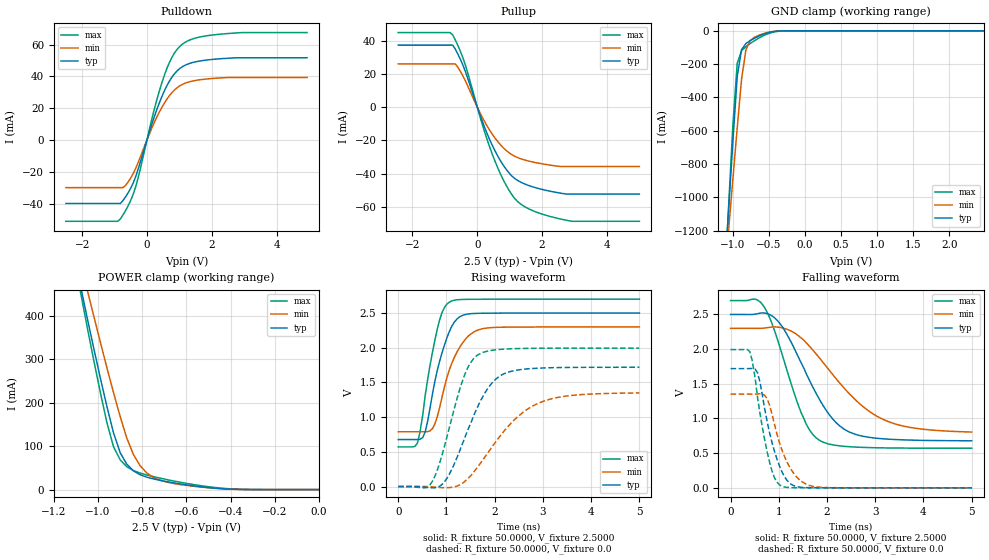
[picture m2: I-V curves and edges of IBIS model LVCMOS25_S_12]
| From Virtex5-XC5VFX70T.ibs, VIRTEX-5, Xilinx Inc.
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|   Model LVCMOS25_S_12
[Model]  LVCMOS25_S_12
Model_type I/O
Polarity   Non-Inverting
Enable   Active-Low
Vinl = 0.65
Vinh = 1.85
Vmeas =  1.2500V
Cref =   0.0F
Rref =   1.0000M
Vref =   0.0V
C_comp   6.0000pF   6.0000pF   6.0000pF
[Model Spec]
Vinl   0.65   0.6   0.7
Vinh   1.85   1.7   2.0
[Temperature Range]   25.0000   85.0000   0.0
[Voltage Range]   2.5000V   2.3000V   2.7000V
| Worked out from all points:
|   slope of the pulldown table from 0 to 0.375 V, typ, clamps not added: 16.3 ohm
|   slope of the pullup table from 0 to 0.375 V, typ, clamps not added: 19.5 ohm
|   GND clamp passes 1 mA (typ) near -0.35 V on its own axis
|   POWER clamp passes 1 mA (typ) near -0.40 V on its own axis
|   rising waveform, R_fixture 50.0000, V_fixture 2.5000: 20-80 % time 370ps typ, 426ps min, 312ps max; typ from 0.677 V to 2.5 V
|   rising waveform, R_fixture 50.0000, V_fixture 0.0: 20-80 % time 648ps typ, 971ps min, 486ps max; typ from 0 V to 1.72 V
|   falling waveform, R_fixture 50.0000, V_fixture 2.5000: 20-80 % time 831ps typ, 1.19ns min, 613ps max; typ from 2.5 V to 0.679 V
|   falling waveform, R_fixture 50.0000, V_fixture 0.0: 20-80 % time 350ps typ, 399ps min, 293ps max; typ from 1.72 V to 0 V
[Pulldown]
|Voltage   I(typ)   I(min)   I(max)
-2.5V     -39.8mA    -29.84mA   -51mA
-900mV    -39.8mA    -29.84mA   -51mA
-820mV    -39.8mA    -29.84mA   -49.53mA
-660mV    -35.7mA    -28.49mA   -44.35mA
-340mV    -22.55mA   -17.45mA   -28.94mA
220mV     14.2mA     10.7mA     18.76mA
540mV     30.98mA    23.3mA     40.82mA
780mV     39.81mA    30.03mA    52.29mA
1.1V      46.18mA    35.06mA    60.36mA
1.5V      49.17mA    37.49mA    64.12mA
2.22V     51.04mA    39.01mA    66.47mA
4.94V     51.73mA    39.36mA    67.56mA
[Pullup]
|Voltage   I(typ)   I(min)   I(max)
-2.44V    37.46mA    26.15mA    45.04mA
-840mV    37.46mA    26.15mA    45.04mA
-760mV    37.46mA    26.15mA    43.62mA
-600mV    32.11mA    24.14mA    37.29mA
-360mV    21.09mA    15.58mA    24.96mA
120mV     -6.701mA   -4.795mA   -8.164mA
520mV     -25.32mA   -17.91mA   -31.29mA
920mV     -38.23mA   -26.59mA   -48.16mA
1.32V     -45.02mA   -30.95mA   -58.15mA
1.96V     -49.41mA   -34.03mA   -64.25mA
2.92V     -52.44mA   -35.78mA   -68.84mA
5V        -52.44mA   -35.78mA   -68.84mA
[GND_clamp]
|Voltage   I(typ)   I(min)   I(max)
-2.5V     -11.29A    -8.704A    -13.53A
-1.12V    -1.497A    -1.51A     -1.57A
-1.06V    -1.075A    -1.198A    -1.059A
-1V       -662mA     -888.5mA   -563.2mA
-940mV    -273.6mA   -582.9mA   -195.1mA
-880mV    -113.7mA   -290.3mA   -119.7mA
-820mV    -76.4mA    -115.2mA   -95.07mA
-760mV    -58.66mA   -58.46mA   -76.31mA
-700mV    -44.35mA   -38.35mA   -59.24mA
-520mV    -12.14mA   -10.32mA   -18.61mA
-340mV    -602.1uA   -638.4uA   -1.401mA
2.48V     19.95nA    6.298uA    40.3nA
[POWER_clamp]
|Voltage   I(typ)   I(min)   I(max)
-2.49V    3.897A     3.398A     4.279A
-1.08V    470.7mA    523.2mA    456.9mA
-1.05V    398.2mA    462.2mA    377.2mA
-1.02V    327.1mA    401.4mA    299.7mA
-960mV    191.8mA    281.1mA    154.7mA
-930mV    130.6mA    223.5mA    98.93mA
-900mV    85.26mA    168.6mA    68.69mA
-840mV    43.25mA    81.1mA     43.8mA
-780mV    28.81mA    38.65mA    33.69mA
-690mV    18.53mA    17.37mA    23.2mA
-540mV    6.864mA    6.149mA    9.448mA
0V        21.48nA    108.1nA    47.01nA
[Ramp]
| variable   typ   min   max
dV/dt_r  1.0314/0.6471n   0.8088/0.9699n   1.1964/0.4837n
dV/dt_f  1.0929/0.8300n   0.8972/1.1858n   1.2772/0.6076n
R_load = 50.0000
[Rising Waveform]
R_fixture= 50.0000
V_fixture= 2.5000
V_fixture_min= 2.3000
V_fixture_max= 2.7000
|time   V(typ)   V(min)   V(max)
0s        676.9mV    788.8mV    571.1mV
400ps     676.9mV    788.8mV    630.1mV
560ps     790.2mV    788.8mV    1.315V
710ps     1.334V     835mV      1.934V
810ps     1.674V     1.006V     2.267V
910ps     1.931V     1.293V     2.509V
1.06ns    2.233V     1.681V     2.657V
1.36ns    2.472V     2.093V     2.696V
1.72ns    2.496V     2.269V     2.698V
5ns       2.5V       2.299V     2.7V
[Rising Waveform]
R_fixture= 50.0000
V_fixture= 0.0
|time   V(typ)   V(min)   V(max)
0s        0V         672.7nV    0V
560ps     -10.74mV   -69.38uV   -17.79mV
710ps     -19.09mV   -5.424mV   76.54mV
1.01ns    118.1mV    -16.83mV   714.2mV
1.36ns    666.2mV    62.07mV    1.577V
1.67ns    1.183V     302mV      1.904V
2.12ns    1.597V     734mV      1.976V
2.88ns    1.704V     1.192V     1.992V
3.59ns    1.716V     1.312V     1.994V
5ns       1.719V     1.348V     1.994V
[Falling Waveform]
R_fixture= 50.0000
V_fixture= 2.5000
V_fixture_min= 2.3000
V_fixture_max= 2.7000
|time   V(typ)   V(min)   V(max)
0s        2.5V       2.3V       2.7V
510ps     2.504V     2.299V     2.721V
710ps     2.521V     2.305V     2.595V
1.06ns    2.335V     2.309V     1.946V
1.46ns    1.807V     2.163V     1.091V
1.82ns    1.305V     1.892V     696.7mV
2.37ns    839.8mV    1.427V     598.2mV
3.13ns    709.2mV    998.2mV    576.8mV
3.84ns    686.8mV    859mV      572.5mV
5ns       678.6mV    804.8mV    571.3mV
[Falling Waveform]
R_fixture= 50.0000
V_fixture= 0.0
|time   V(typ)   V(min)   V(max)
0s        1.719V     1.351V     1.994V
400ps     1.72V      1.351V     1.964V
560ps     1.658V     1.354V     1.303V
710ps     1.131V     1.333V     684.5mV
810ps     791.6mV    1.188V     366.8mV
910ps     530.2mV    919.4mV    147.9mV
1.06ns    240.5mV    556.4mV    25.01mV
1.36ns    20.54mV    164.9mV    2.059mV
1.72ns    2.157mV    20.39mV    989.8uV
5ns       74.73uV    162.8uV    27.75uV
